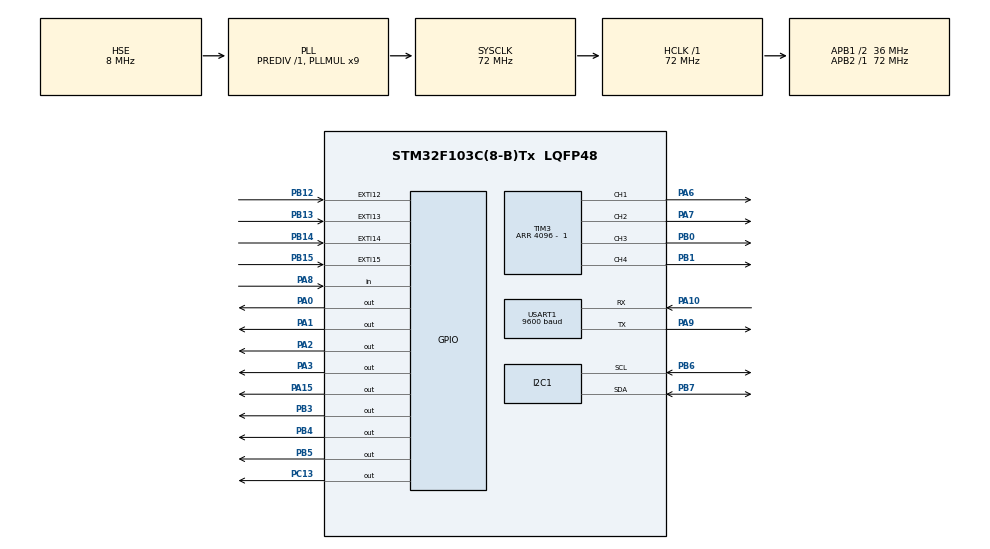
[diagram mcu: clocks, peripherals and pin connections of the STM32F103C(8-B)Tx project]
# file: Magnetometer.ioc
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Mcu.Family=STM32F1
Mcu.Name=STM32F103C(8-B)Tx
Mcu.Package=LQFP48
NVIC.EXTI15_10_IRQn=true\:0\:0\:true\:true\:true\:1\:true\:true\:true
NVIC.PriorityGroup=NVIC_PRIORITYGROUP_4
NVIC.TIM2_IRQn=true\:0\:0\:false\:true\:true\:3\:true\:true\:true
NVIC.TIM4_IRQn=true\:0\:0\:false\:true\:true\:2\:true\:true\:true
PA0-WKUP.Signal=GPIO_Output
PA1.Signal=GPIO_Output
PA10.Mode=Asynchronous
PA10.Signal=USART1_RX
PA13.Mode=Serial_Wire
PA13.Signal=SYS_JTMS-SWDIO
PA14.Mode=Serial_Wire
PA14.Signal=SYS_JTCK-SWCLK
PA15.Signal=GPIO_Output
PA2.Signal=GPIO_Output
PA3.Signal=GPIO_Output
PA6.Signal=S_TIM3_CH1
PA7.Signal=S_TIM3_CH2
PA8.GPIO_PuPd=GPIO_PULLDOWN
PA8.Signal=GPIO_Input
PA9.Mode=Asynchronous
PA9.Signal=USART1_TX
PB0.Signal=S_TIM3_CH3
PB1.Signal=S_TIM3_CH4
PB12.GPIO_PuPd=GPIO_PULLDOWN
PB12.Signal=GPXTI12
PB13.GPIO_PuPd=GPIO_PULLDOWN
PB13.Signal=GPXTI13
PB14.GPIO_PuPd=GPIO_PULLDOWN
PB14.Signal=GPXTI14
PB15.GPIO_PuPd=GPIO_PULLDOWN
PB15.Signal=GPXTI15
PB3.Signal=GPIO_Output
PB4.Signal=GPIO_Output
PB5.Signal=GPIO_Output
PB6.Mode=I2C
PB6.Signal=I2C1_SCL
PB7.Mode=I2C
PB7.Signal=I2C1_SDA
PC13-TAMPER-RTC.Signal=GPIO_Output
PC14-OSC32_IN.Mode=LSE-External-Oscillator
PC14-OSC32_IN.Signal=RCC_OSC32_IN
PC15-OSC32_OUT.Mode=LSE-External-Oscillator
PC15-OSC32_OUT.Signal=RCC_OSC32_OUT
PD0-OSC_IN.Mode=HSE-External-Oscillator
PD0-OSC_IN.Signal=RCC_OSC_IN
PD1-OSC_OUT.Mode=HSE-External-Oscillator
PD1-OSC_OUT.Signal=RCC_OSC_OUT
ProjectManager.HeapSize=0x200
ProjectManager.StackSize=0x400
ProjectManager.TargetToolchain=STM32CubeIDE
RCC.AHBFreq_Value=72000000
RCC.APB1CLKDivider=RCC_HCLK_DIV2
RCC.APB1Freq_Value=36000000
RCC.APB1TimFreq_Value=72000000
RCC.APB2Freq_Value=72000000
RCC.APB2TimFreq_Value=72000000
RCC.HCLKFreq_Value=72000000
RCC.PLLMUL=RCC_PLL_MUL9
RCC.PLLSourceVirtual=RCC_PLLSOURCE_HSE
RCC.SYSCLKFreq_VALUE=72000000
RCC.SYSCLKSource=RCC_SYSCLKSOURCE_PLLCLK
RCC.USBFreq_Value=72000000
SH.S_TIM3_CH1.0=TIM3_CH1,PWM Generation1 CH1
SH.S_TIM3_CH2.0=TIM3_CH2,PWM Generation2 CH2
SH.S_TIM3_CH3.0=TIM3_CH3,PWM Generation3 CH3
SH.S_TIM3_CH4.0=TIM3_CH4,PWM Generation4 CH4
TIM2.Period=1000 - 1
TIM2.Prescaler=7200 - 1
TIM3.Channel-PWM\ Generation1\ CH1=TIM_CHANNEL_1
TIM3.Channel-PWM\ Generation2\ CH2=TIM_CHANNEL_2
TIM3.Channel-PWM\ Generation3\ CH3=TIM_CHANNEL_3
TIM3.Channel-PWM\ Generation4\ CH4=TIM_CHANNEL_4
TIM3.Period=4096 -  1
TIM4.Period=100-1
TIM4.Prescaler=7200 - 1
USART1.BaudRate=9600
USART1.VirtualMode=VM_ASYNC
VP_TIM1_VS_ClockSourceINT.Mode=Internal
VP_TIM2_VS_ClockSourceINT.Mode=Internal
VP_TIM4_VS_ClockSourceINT.Mode=Internal
board=custom

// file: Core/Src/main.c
/* USER CODE BEGIN Header */
/**
  ******************************************************************************
  * @file           : main.c
  * @brief          : Main program body
  ******************************************************************************
  * @attention
  *
  * Copyright (c) 2023 STMicroelectronics.
  * All rights reserved.
  *
  * This software is licensed under terms that can be found in the LICENSE file
  * in the root directory of this software component.
  * If no LICENSE file comes with this software, it is provided AS-IS.
  *
  ******************************************************************************
  */
/* USER CODE END Header */
#include "main.h"

/* USER CODE BEGIN Includes */
#include "stdio.h"
#include "math.h"
/* USER CODE END Includes */

I2C_HandleTypeDef hi2c1;

TIM_HandleTypeDef htim1;
TIM_HandleTypeDef htim2;
TIM_HandleTypeDef htim3;
TIM_HandleTypeDef htim4;

UART_HandleTypeDef huart1;

/* USER CODE BEGIN PV */

/* IMU Adresses */
uint8_t IMU_ADDRESS = 0b11010000; //0xD0
uint8_t MAG_ADDRESS = 0x1A;

/* Variables de IMU6050 Acelerometro */
uint8_t accel_raw_data[6];

float accel_x;
float accel_y;
float accel_z;

/* Variables de IMU6050 Giroscopio */

uint8_t gyro_raw_data[6];

float gyro_x;
float gyro_y;
float gyro_z;

float GyroMean[5] = {};
float gyro_mean;

float GyroValuesx = 0;
float GyroValuesy = 0;
float GyroValuesz = 0;

float Gyro_X_calibration = 0;
float Gyro_Y_calibration = 0;
float Gyro_Z_calibration = 0;

/*Angulos*/
float yawangle = 0;
float yawangle_new;
float prev_yaw = 0;
float yaw_reference = -90;
float filteredYaw;

uint8_t state = 0;

volatile uint8_t pulses_rf, pulses_lf, pulses_rb, pulses_lb;

uint8_t pulsesperturn = 20;

uint16_t rpm_rf, rpm_lf, rpm_rb, rpm_lb;

uint8_t current_tick_rf, current_tick_lf, current_tick_rb, current_tick_lb;

float pid_output_lf, pid_output_rf, pid_output_lb, pid_output_rb;

uint16_t pwm_rf,pwm_lf, pwm_rb, pwm_lb;

/*Array For Commands*/
char Commands[3];

/*Transmission array*/
char rpmdata[100] = {0};

/* Magnetometer variables*/
uint8_t array[2]={0x01, 0x1D};
uint8_t array2[6];
int16_t MagX,MagY,MagZ;
float YawMag, angulo2;
float x_center =  2581.4;/* Valor de x_center de MATLAB */;
float y_center = 2752.2;/* Valor de y_center de MATLAB */;
float z_center = 1154.7;/* Valor de z_center de MATLAB */;
float radio_promedio = 153.39167/* Valor del radio promedio calculado en MATLAB */;
float x_norm, y_norm, z_norm;
float distancia;

// Variables para almacenar los máximos y mínimos de la calibración
char datos[20];

uint8_t count = 0;
uint32_t time_counter = 1;

/* USER CODE END PV */

void SystemClock_Config(void);
static void MX_GPIO_Init(void);
static void MX_I2C1_Init(void);
static void MX_TIM3_Init(void);
static void MX_USART1_UART_Init(void);
static void MX_TIM4_Init(void);
static void MX_TIM2_Init(void);
static void MX_TIM1_Init(void);
static void MX_NVIC_Init(void);

/* USER CODE BEGIN 0 */
void MPU_init(void){
	/*IMU 60050 configuration*/
	uint8_t check, data;

	/*WHO_AM_I register, returns 0x58 if connected*/
	HAL_I2C_Mem_Read(&hi2c1, IMU_ADDRESS, 0x75, 1, &check, 1, 100);

	if(check == 104){
		/*PWR_MGMT_1 register. Write 0 for normal use*/
		data = 0;
		HAL_I2C_Mem_Write(&hi2c1, IMU_ADDRESS, 0x6B, 1, &data, 1, 100);

		/*SMPRT_DIV register*/
		data = 0x07;
		HAL_I2C_Mem_Write(&hi2c1, IMU_ADDRESS, 0x19, 1, &data, 1, 100);

		/*Acceleration Register configuration*/
		HAL_I2C_Mem_Read(&hi2c1, IMU_ADDRESS, 0x1C, 1, &data, 1, 100);

		uint8_t precission_selector = 0;
		/*
		 * 0 for +- 2g
		 * 1 for +- 4g
		 * 2 for +- 8g
		 * 3 for +- 16g
		 */
		data = (data & ~(0b11<<3));
		data = (data | (precission_selector << 3));

		HAL_I2C_Mem_Write(&hi2c1, IMU_ADDRESS, 0x1C, 1, &data, 1, 100);

		/*Gyro Register configuration*/
		HAL_I2C_Mem_Read(&hi2c1, IMU_ADDRESS, 0x1B, 1, &data, 1, 100);

		uint8_t precission_selector_gyro = 0;
		/*
		 * 0 for +- 250 deg/s
		 * 1 for +- 500 deg/s
		 * 2 for +- 1000 deg/s
		 * 3 for +- 2000 deg/s
		 */
		data = (data & ~(0b11<<3));
		data = (data | (precission_selector_gyro << 3));

		HAL_I2C_Mem_Write(&hi2c1, IMU_ADDRESS, 0x1B, 1,&data, 1, 100);

	}

}

void MPU_Read_accel(void){

	/*
	 * 0x3B ACCEL_XOUT_H
	 * 0x3C ACCEL_XOUT_L
	 * 0x3D ACCEL_YOUT_H
	 * 0x3E ACCEL_YOUT_L
	 * 0x3F ACCEL_ZOUT_H
	 * 0x40 ACCEL_ZOUT_L
	 * */

	/*Read registers in order*/
	HAL_I2C_Mem_Read(&hi2c1, IMU_ADDRESS, 0x3B, 1, accel_raw_data, 6, 1000);

	/*Precission value in g's
	 * change if value in MPU_init changes
	 * 2
	 * 4
	 * 8
	 * 16
	 * */
	 float g_precission = 2;

	 accel_x = (float)(((int16_t)(accel_raw_data[0] << 8 | accel_raw_data[1])) * g_precission/32768);
	 accel_y = (float)(((int16_t)(accel_raw_data[2] << 8 | accel_raw_data[3])) * g_precission/32768);
	 accel_z = (float)(((int16_t)(accel_raw_data[4] << 8 | accel_raw_data[5])) * g_precission/32768);

	 /*Conversion from g's to m/s^2*/
	 accel_x = accel_x * 9.81;
	 accel_y = accel_y * 9.81;
	 accel_z = accel_z * 9.81;
	}

void MPU_Read_gyro(void){

	/*
	 * 0x43 ACCEL_XOUT_H
	 * 0x44 ACCEL_XOUT_L
	 * 0x45 ACCEL_YOUT_H
	 * 0x46 ACCEL_YOUT_L
	 * 0x47 ACCEL_ZOUT_H
	 * 0x48 ACCEL_ZOUT_L
	 * */

	if(count < 5){

		/*Read registers in order*/
		HAL_I2C_Mem_Read(&hi2c1, IMU_ADDRESS, 0x43, 1, gyro_raw_data, 6, 1000);

		/*Precission value in degs/s
		 * change if value in MPU_init changes
		 * 250
		 * 500
		 * 1000
		 * 2000
		 * */
		float gyro_Precission = 250;

		 gyro_x = (float)(((int16_t)(gyro_raw_data[0] << 8 | gyro_raw_data[1])) * gyro_Precission/32768);
		 gyro_y = (float)(((int16_t)(gyro_raw_data[2] << 8 | gyro_raw_data[3])) * gyro_Precission/32768);
		 gyro_z = (float)(((int16_t)(gyro_raw_data[4] << 8 | gyro_raw_data[5])) * gyro_Precission/32768);

		 /*Gyro values adjusted with calibration values*/
		 gyro_x += Gyro_X_calibration;
		 gyro_y += Gyro_Y_calibration;
		 gyro_z += Gyro_Z_calibration;

		 GyroMean[count] = gyro_z;
		 count++;
	}

	if(count == 5){
		/*Moving average of 5*/
		gyro_mean = (GyroMean[0]+GyroMean[1]+GyroMean[2]+GyroMean[3]+GyroMean[4])/5;
		count = 0;
	}
}

void Gyro_calibration(void){

	uint16_t counter = 0;
	uint32_t StartTime_cal = HAL_GetTick();
	uint32_t ElapsedTime_cal = 0;

	/*Calibrate value for 9 seconds*/
	while(ElapsedTime_cal < 9000){

		MPU_Read_gyro();
		GyroValuesx += gyro_x;
		GyroValuesy += gyro_y;
		GyroValuesz += gyro_z;

		counter++;

		uint32_t CurrentTime_cal = HAL_GetTick();
		ElapsedTime_cal = CurrentTime_cal - StartTime_cal;
	}

	/*Calibration values, average of gyros values*/
	Gyro_X_calibration = -1 * GyroValuesx/counter;
	Gyro_Y_calibration = -1 * GyroValuesy/counter;
	Gyro_Z_calibration = -1 * GyroValuesz/counter;

}

void MPU_GetYaw(uint8_t elapsed){
	uint8_t alfa = 0.98;
/*
	yawangle_new = prev_yaw + gyro_z * elapsed/1000;

	yawangle = alfa * prev_yaw + (1-alfa) * yawangle_new;
`
	prev_yaw = yawangle_new;
*/

	filteredYaw = alfa*(filteredYaw + gyro_z * elapsed/1000) + (1-alfa)*YawMag;
}

void Mag_init(void){

	 HAL_I2C_Mem_Write(&hi2c1, MAG_ADDRESS, 0x08,1, &array[0], 1, 100);
	 HAL_I2C_Mem_Write(&hi2c1, MAG_ADDRESS, 0x09,1, &array[1], 1, 100);
}

void Mag_read(void){

	HAL_I2C_Mem_Read(&hi2c1, MAG_ADDRESS, 0x06,1, array2, 1, 100);
	  if(array2[0]&0x01){
		  HAL_I2C_Mem_Read(&hi2c1, MAG_ADDRESS, 0x00,1, array2, 6, 100);
		  MagX = array2[1] << 8 | array2[0];
		  MagY = array2[3] << 8 | array2[2];
		  MagZ = array2[5] << 8 | array2[4];
	  }
	  float x_cent = (float)MagX - x_center;
	  float y_cent = (float)MagY - y_center;
	  float z_cent = (float)MagZ - z_center;

	  distancia = sqrt(x_cent * x_cent + y_cent * y_cent + z_cent * z_cent);
	  if (distancia != 0) { // Evitar división por cero
		  x_norm = (x_cent / distancia); //* radio_promedio;
		  y_norm = (y_cent / distancia); //* radio_promedio;
		  z_norm = (z_cent / distancia); //* radio_promedio;
	  }
	  distancia = sqrt(x_norm * x_norm + y_norm * y_norm + z_norm * z_norm);
	  YawMag = atan2(y_cent,x_cent)*180/M_PI;

}
/* USER CODE END 0 */

int main(void)
{

  /* MCU Configuration--------------------------------------------------------*/

  /* Reset of all peripherals, Initializes the Flash interface and the Systick. */
  HAL_Init();

  /* Configure the system clock */
  SystemClock_Config();

  /* Initialize all configured peripherals */
  MX_GPIO_Init();
  MX_I2C1_Init();
  MX_TIM3_Init();
  MX_USART1_UART_Init();
  MX_TIM4_Init();
  MX_TIM2_Init();
  MX_TIM1_Init();

  /* Initialize interrupts */
  MX_NVIC_Init();
  /* USER CODE BEGIN 2 */

  /*Check if MPU6050 is connected*/
  HAL_StatusTypeDef ret = HAL_I2C_IsDeviceReady(&hi2c1, IMU_ADDRESS, 10, 100);
  /*Check if QMC5883 is connected*/
  HAL_StatusTypeDef ready = HAL_I2C_IsDeviceReady(&hi2c1, MAG_ADDRESS, 10, 1000);

  if(ready == HAL_OK){
	  HAL_GPIO_WritePin(GPIOC, GPIO_PIN_13, 0);
	  char transmission_buffer[17];
	  uint8_t transmission_size = sprintf(transmission_buffer,"Device connected \n");

	  HAL_UART_Transmit(&huart1,&transmission_buffer,transmission_size, 500);
  }
  else{
	  HAL_GPIO_WritePin(GPIOC, GPIO_PIN_13, 1);
  }

  Mag_init();
  MPU_init();

  HAL_TIM_Base_Start_IT(&htim4);
  HAL_TIM_Base_Start_IT(&htim2);
  HAL_TIM_PWM_Start(&htim3, TIM_CHANNEL_1);
  HAL_TIM_PWM_Start(&htim3, TIM_CHANNEL_2);
  HAL_TIM_PWM_Start(&htim3, TIM_CHANNEL_3);
  HAL_TIM_PWM_Start(&htim3, TIM_CHANNEL_4);

  uint32_t start_time, elapsed_time, current_time;

/*Initialize PID functions with its obtained Kp, Ti, Td and reference values*/

  /* USER CODE END 2 */

  /* Infinite loop */
  while (1)
  {

    /* USER CODE BEGIN 3 */

	  Mag_read();

	  uint8_t MagData = sprintf(rpmdata,",%.2f\n",YawMag);
	  HAL_UART_Transmit(&huart1, &rpmdata, MagData, 100);

  }

  /* USER CODE END 3 */
}

void SystemClock_Config(void)
{
  RCC_OscInitTypeDef RCC_OscInitStruct = {0};
  RCC_ClkInitTypeDef RCC_ClkInitStruct = {0};

  /** Initializes the RCC Oscillators according to the specified parameters
  * in the RCC_OscInitTypeDef structure.
  */
  RCC_OscInitStruct.OscillatorType = RCC_OSCILLATORTYPE_HSE;
  RCC_OscInitStruct.HSEState = RCC_HSE_ON;
  RCC_OscInitStruct.HSEPredivValue = RCC_HSE_PREDIV_DIV1;
  RCC_OscInitStruct.HSIState = RCC_HSI_ON;
  RCC_OscInitStruct.PLL.PLLState = RCC_PLL_ON;
  RCC_OscInitStruct.PLL.PLLSource = RCC_PLLSOURCE_HSE;
  RCC_OscInitStruct.PLL.PLLMUL = RCC_PLL_MUL9;
  if (HAL_RCC_OscConfig(&RCC_OscInitStruct) != HAL_OK)
  {
    Error_Handler();
  }

  /** Initializes the CPU, AHB and APB buses clocks
  */
  RCC_ClkInitStruct.ClockType = RCC_CLOCKTYPE_HCLK|RCC_CLOCKTYPE_SYSCLK
                              |RCC_CLOCKTYPE_PCLK1|RCC_CLOCKTYPE_PCLK2;
  RCC_ClkInitStruct.SYSCLKSource = RCC_SYSCLKSOURCE_PLLCLK;
  RCC_ClkInitStruct.AHBCLKDivider = RCC_SYSCLK_DIV1;
  RCC_ClkInitStruct.APB1CLKDivider = RCC_HCLK_DIV2;
  RCC_ClkInitStruct.APB2CLKDivider = RCC_HCLK_DIV1;

  if (HAL_RCC_ClockConfig(&RCC_ClkInitStruct, FLASH_LATENCY_2) != HAL_OK)
  {
    Error_Handler();
  }
}

/**
  * @brief NVIC Configuration.
  * @retval None
  */
static void MX_NVIC_Init(void)
{
  /* EXTI15_10_IRQn interrupt configuration */
  HAL_NVIC_SetPriority(EXTI15_10_IRQn, 0, 0);
  HAL_NVIC_EnableIRQ(EXTI15_10_IRQn);
  /* TIM4_IRQn interrupt configuration */
  HAL_NVIC_SetPriority(TIM4_IRQn, 0, 0);
  HAL_NVIC_EnableIRQ(TIM4_IRQn);
  /* TIM2_IRQn interrupt configuration */
  HAL_NVIC_SetPriority(TIM2_IRQn, 0, 0);
  HAL_NVIC_EnableIRQ(TIM2_IRQn);
}

static void MX_I2C1_Init(void)
{

  hi2c1.Instance = I2C1;
  hi2c1.Init.ClockSpeed = 100000;
  hi2c1.Init.DutyCycle = I2C_DUTYCYCLE_2;
  hi2c1.Init.OwnAddress1 = 0;
  hi2c1.Init.AddressingMode = I2C_ADDRESSINGMODE_7BIT;
  hi2c1.Init.DualAddressMode = I2C_DUALADDRESS_DISABLE;
  hi2c1.Init.OwnAddress2 = 0;
  hi2c1.Init.GeneralCallMode = I2C_GENERALCALL_DISABLE;
  hi2c1.Init.NoStretchMode = I2C_NOSTRETCH_DISABLE;
  if (HAL_I2C_Init(&hi2c1) != HAL_OK)
  {
    Error_Handler();
  }

}

static void MX_TIM1_Init(void)
{

  TIM_ClockConfigTypeDef sClockSourceConfig = {0};
  TIM_MasterConfigTypeDef sMasterConfig = {0};

  htim1.Instance = TIM1;
  htim1.Init.Prescaler = 0;
  htim1.Init.CounterMode = TIM_COUNTERMODE_UP;
  htim1.Init.Period = 65535;
  htim1.Init.ClockDivision = TIM_CLOCKDIVISION_DIV1;
  htim1.Init.RepetitionCounter = 0;
  htim1.Init.AutoReloadPreload = TIM_AUTORELOAD_PRELOAD_DISABLE;
  if (HAL_TIM_Base_Init(&htim1) != HAL_OK)
  {
    Error_Handler();
  }
  sClockSourceConfig.ClockSource = TIM_CLOCKSOURCE_INTERNAL;
  if (HAL_TIM_ConfigClockSource(&htim1, &sClockSourceConfig) != HAL_OK)
  {
    Error_Handler();
  }
  sMasterConfig.MasterOutputTrigger = TIM_TRGO_RESET;
  sMasterConfig.MasterSlaveMode = TIM_MASTERSLAVEMODE_DISABLE;
  if (HAL_TIMEx_MasterConfigSynchronization(&htim1, &sMasterConfig) != HAL_OK)
  {
    Error_Handler();
  }

}

static void MX_TIM2_Init(void)
{

  TIM_ClockConfigTypeDef sClockSourceConfig = {0};
  TIM_MasterConfigTypeDef sMasterConfig = {0};

  htim2.Instance = TIM2;
  htim2.Init.Prescaler = 7200 - 1;
  htim2.Init.CounterMode = TIM_COUNTERMODE_UP;
  htim2.Init.Period = 1000 - 1;
  htim2.Init.ClockDivision = TIM_CLOCKDIVISION_DIV1;
  htim2.Init.AutoReloadPreload = TIM_AUTORELOAD_PRELOAD_DISABLE;
  if (HAL_TIM_Base_Init(&htim2) != HAL_OK)
  {
    Error_Handler();
  }
  sClockSourceConfig.ClockSource = TIM_CLOCKSOURCE_INTERNAL;
  if (HAL_TIM_ConfigClockSource(&htim2, &sClockSourceConfig) != HAL_OK)
  {
    Error_Handler();
  }
  sMasterConfig.MasterOutputTrigger = TIM_TRGO_RESET;
  sMasterConfig.MasterSlaveMode = TIM_MASTERSLAVEMODE_DISABLE;
  if (HAL_TIMEx_MasterConfigSynchronization(&htim2, &sMasterConfig) != HAL_OK)
  {
    Error_Handler();
  }

}

static void MX_TIM3_Init(void)
{

  TIM_MasterConfigTypeDef sMasterConfig = {0};
  TIM_OC_InitTypeDef sConfigOC = {0};

  htim3.Instance = TIM3;
  htim3.Init.Prescaler = 0;
  htim3.Init.CounterMode = TIM_COUNTERMODE_UP;
  htim3.Init.Period = 4096 - 1;
  htim3.Init.ClockDivision = TIM_CLOCKDIVISION_DIV1;
  htim3.Init.AutoReloadPreload = TIM_AUTORELOAD_PRELOAD_DISABLE;
  if (HAL_TIM_PWM_Init(&htim3) != HAL_OK)
  {
    Error_Handler();
  }
  sMasterConfig.MasterOutputTrigger = TIM_TRGO_RESET;
  sMasterConfig.MasterSlaveMode = TIM_MASTERSLAVEMODE_DISABLE;
  if (HAL_TIMEx_MasterConfigSynchronization(&htim3, &sMasterConfig) != HAL_OK)
  {
    Error_Handler();
  }
  sConfigOC.OCMode = TIM_OCMODE_PWM1;
  sConfigOC.Pulse = 0;
  sConfigOC.OCPolarity = TIM_OCPOLARITY_HIGH;
  sConfigOC.OCFastMode = TIM_OCFAST_DISABLE;
  if (HAL_TIM_PWM_ConfigChannel(&htim3, &sConfigOC, TIM_CHANNEL_1) != HAL_OK)
  {
    Error_Handler();
  }
  if (HAL_TIM_PWM_ConfigChannel(&htim3, &sConfigOC, TIM_CHANNEL_2) != HAL_OK)
  {
    Error_Handler();
  }
  if (HAL_TIM_PWM_ConfigChannel(&htim3, &sConfigOC, TIM_CHANNEL_3) != HAL_OK)
  {
    Error_Handler();
  }
  if (HAL_TIM_PWM_ConfigChannel(&htim3, &sConfigOC, TIM_CHANNEL_4) != HAL_OK)
  {
    Error_Handler();
  }
  HAL_TIM_MspPostInit(&htim3);

}

static void MX_TIM4_Init(void)
{

  TIM_ClockConfigTypeDef sClockSourceConfig = {0};
  TIM_MasterConfigTypeDef sMasterConfig = {0};

  htim4.Instance = TIM4;
  htim4.Init.Prescaler = 7200 - 1;
  htim4.Init.CounterMode = TIM_COUNTERMODE_UP;
  htim4.Init.Period = 100-1;
  htim4.Init.ClockDivision = TIM_CLOCKDIVISION_DIV1;
  htim4.Init.AutoReloadPreload = TIM_AUTORELOAD_PRELOAD_DISABLE;
  if (HAL_TIM_Base_Init(&htim4) != HAL_OK)
  {
    Error_Handler();
  }
  sClockSourceConfig.ClockSource = TIM_CLOCKSOURCE_INTERNAL;
  if (HAL_TIM_ConfigClockSource(&htim4, &sClockSourceConfig) != HAL_OK)
  {
    Error_Handler();
  }
  sMasterConfig.MasterOutputTrigger = TIM_TRGO_RESET;
  sMasterConfig.MasterSlaveMode = TIM_MASTERSLAVEMODE_DISABLE;
  if (HAL_TIMEx_MasterConfigSynchronization(&htim4, &sMasterConfig) != HAL_OK)
  {
    Error_Handler();
  }

}

static void MX_USART1_UART_Init(void)
{

  huart1.Instance = USART1;
  huart1.Init.BaudRate = 9600;
  huart1.Init.WordLength = UART_WORDLENGTH_8B;
  huart1.Init.StopBits = UART_STOPBITS_1;
  huart1.Init.Parity = UART_PARITY_NONE;
  huart1.Init.Mode = UART_MODE_TX_RX;
  huart1.Init.HwFlowCtl = UART_HWCONTROL_NONE;
  huart1.Init.OverSampling = UART_OVERSAMPLING_16;
  if (HAL_UART_Init(&huart1) != HAL_OK)
  {
    Error_Handler();
  }

}

static void MX_GPIO_Init(void)
{
  GPIO_InitTypeDef GPIO_InitStruct = {0};

  /* GPIO Ports Clock Enable */
  __HAL_RCC_GPIOC_CLK_ENABLE();
  __HAL_RCC_GPIOD_CLK_ENABLE();
  __HAL_RCC_GPIOA_CLK_ENABLE();
  __HAL_RCC_GPIOB_CLK_ENABLE();

  /*Configure GPIO pin Output Level */
  HAL_GPIO_WritePin(GPIOC, GPIO_PIN_13, GPIO_PIN_RESET);

  /*Configure GPIO pin Output Level */
  HAL_GPIO_WritePin(GPIOA, GPIO_PIN_0|GPIO_PIN_1|GPIO_PIN_2|GPIO_PIN_3
                          |GPIO_PIN_15, GPIO_PIN_RESET);

  /*Configure GPIO pin Output Level */
  HAL_GPIO_WritePin(GPIOB, GPIO_PIN_3|GPIO_PIN_4|GPIO_PIN_5, GPIO_PIN_RESET);

  /*Configure GPIO pin : PC13 */
  GPIO_InitStruct.Pin = GPIO_PIN_13;
  GPIO_InitStruct.Mode = GPIO_MODE_OUTPUT_PP;
  GPIO_InitStruct.Pull = GPIO_NOPULL;
  GPIO_InitStruct.Speed = GPIO_SPEED_FREQ_LOW;
  HAL_GPIO_Init(GPIOC, &GPIO_InitStruct);

  /*Configure GPIO pins : PA0 PA1 PA2 PA3
                           PA15 */
  GPIO_InitStruct.Pin = GPIO_PIN_0|GPIO_PIN_1|GPIO_PIN_2|GPIO_PIN_3
                          |GPIO_PIN_15;
  GPIO_InitStruct.Mode = GPIO_MODE_OUTPUT_PP;
  GPIO_InitStruct.Pull = GPIO_NOPULL;
  GPIO_InitStruct.Speed = GPIO_SPEED_FREQ_LOW;
  HAL_GPIO_Init(GPIOA, &GPIO_InitStruct);

  /*Configure GPIO pins : PB12 PB13 PB14 PB15 */
  GPIO_InitStruct.Pin = GPIO_PIN_12|GPIO_PIN_13|GPIO_PIN_14|GPIO_PIN_15;
  GPIO_InitStruct.Mode = GPIO_MODE_IT_RISING;
  GPIO_InitStruct.Pull = GPIO_PULLDOWN;
  HAL_GPIO_Init(GPIOB, &GPIO_InitStruct);

  /*Configure GPIO pin : PA8 */
  GPIO_InitStruct.Pin = GPIO_PIN_8;
  GPIO_InitStruct.Mode = GPIO_MODE_INPUT;
  GPIO_InitStruct.Pull = GPIO_PULLDOWN;
  HAL_GPIO_Init(GPIOA, &GPIO_InitStruct);

  /*Configure GPIO pins : PB3 PB4 PB5 */
  GPIO_InitStruct.Pin = GPIO_PIN_3|GPIO_PIN_4|GPIO_PIN_5;
  GPIO_InitStruct.Mode = GPIO_MODE_OUTPUT_PP;
  GPIO_InitStruct.Pull = GPIO_NOPULL;
  GPIO_InitStruct.Speed = GPIO_SPEED_FREQ_LOW;
  HAL_GPIO_Init(GPIOB, &GPIO_InitStruct);

}

/* USER CODE BEGIN 4 */

void HAL_TIM_PeriodElapsedCallback(TIM_HandleTypeDef *htim){

	if(htim -> Instance  == TIM2){

		rpm_rf =  (current_tick_rf * 1000 * 60) / (pulsesperturn * 100);
	    rpm_lf =  (current_tick_lf * 1000 * 60) / (pulsesperturn * 100);
	    rpm_rb =  (current_tick_rb * 1000 * 60) / (pulsesperturn * 100);
	    rpm_lb =  (current_tick_lb * 1000 * 60) / (pulsesperturn * 100);

		current_tick_rf = 0;
		current_tick_lf = 0;
		current_tick_rb = 0;
		current_tick_lb = 0;

	}

	if(htim -> Instance == TIM4){

		if(count == 4){
			/*Integrate  every 50ms*/
			MPU_GetYaw(50);
			//count = 0;
		}

		/*Readd gyro value every 10ms*/
		MPU_Read_gyro();
	}

}
void HAL_GPIO_EXTI_Callback(uint16_t GPIO_Pin)
{

/*
 * @pin 15 Right front wheel
 * @pin 14 Left front wheel
 * @pin 13 Right back wheel
 * @pin 12 Left back wheel
 */

  if(GPIO_Pin == GPIO_PIN_15){
	  //Right front wheel
	  pulses_rf++;
	  current_tick_rf++;
  }
  if(GPIO_Pin == GPIO_PIN_14){
	  //Left front wheel
	  pulses_lf++;
	  current_tick_lf++;
  }
  if(GPIO_Pin == GPIO_PIN_13){
	  //Right back wheel
	  pulses_lb++;
	  current_tick_lb++;
  }
  if(GPIO_Pin == GPIO_PIN_12){
	  //Left back wheel
	  pulses_rb++;
	  current_tick_rb++;

  }
}

/* USER CODE END 4 */

void Error_Handler(void)
{
  __disable_irq();
  while (1)
  {
  }
}
